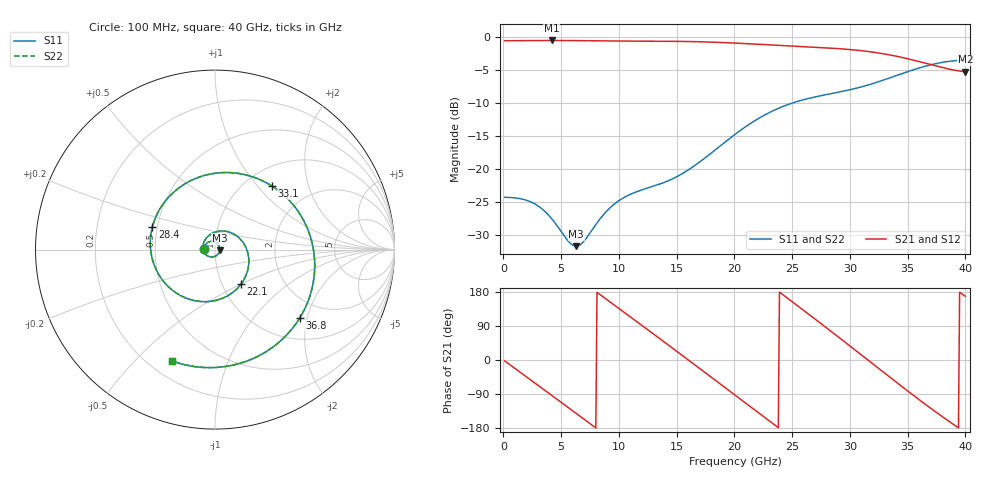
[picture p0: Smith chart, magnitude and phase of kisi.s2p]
! A_s4_d200_ap600: L1→L4 through L2/L3, drill Ø0.2, antipad Ø0.6, 4 GND vias at 1 mm
! stackup: 4-layer 1.6 mm FR-4
! ports: 1, 2
! kisi-fdtd, conformal, dfine 0.035 mm, 457125 cells
# Hz S RI R 50
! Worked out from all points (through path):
!   400 points, 100 MHz to 40 GHz, reference 50 ohm
!   highest |S21| = -0.58 dB at 4.2 GHz (marker M1); lowest = -5.3 dB at 40 GHz (marker M2)
!   group delay of S21, straight-line fit = 63.7 ps
!   lowest |S11| = -31.6 dB at 6.3 GHz (marker M3), VSWR 1.05, Z = 52.6 - j0.464 ohm
!   |S11| at or under -10 dB: start of sweep to 25.07 GHz
!   |S22| runs from -31.6 to -3.5 dB; largest |S21 - S12| = 1.4e-07
!   S11 on the Smith chart (normalised r, x): 100 MHz: 0.88, +0.00; 22.1 GHz: 1.22, -0.50; 28.4 GHz: 0.47, +0.14; 33.1 GHz: 1.31, +1.20; 36.8 GHz: 1.50, -1.80; 40 GHz: 0.29, -0.65
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1e8  -0.0612 0.00184  0.9296 -0.0361  0.9296 -0.0361  -0.0612 0.00184
2.4e9  -0.0394 0.0402  0.5555 -0.7499  0.5555 -0.7499  -0.0394 0.0402
4.2e9  0.00229 0.0419  -0.0629 -0.9328  -0.0629 -0.9328  0.00229 0.0419
6.3e9  0.0258 -0.0044  -0.7252 -0.5859  -0.7252 -0.5859  0.0258 -0.0044
6.8e9  0.0216 -0.0171  -0.8244 -0.4331  -0.8244 -0.4331  0.0216 -0.0171
8.7e9  -0.0194 -0.0413  -0.8959 0.2376  -0.8959 0.2376  -0.0194 -0.0413
1.07e10  -0.0607 -0.0156  -0.4668 0.7976  -0.4668 0.7976  -0.0607 -0.0156
1.34e10  -0.0585 0.0489  0.4687 0.7949  0.4687 0.7949  -0.0585 0.0489
1.5e10  -0.0285 0.0827  0.8469 0.3613  0.8469 0.3613  -0.0285 0.0827
1.65e10  0.0227 0.1028  0.8988 -0.1775  0.8988 -0.1775  0.0227 0.1028
1.84e10  0.1165 0.0793  0.5231 -0.7396  0.5231 -0.7396  0.1165 0.0793
2.01e10  0.183 -0.0192  -0.0582 -0.891  -0.0582 -0.891  0.183 -0.0192
2.21e10  0.1445 -0.1931  -0.666 -0.5672  -0.666 -0.5672  0.1445 -0.1931
2.43e10  -0.0747 -0.2897  -0.8418 0.1488  -0.8418 0.1488  -0.0747 -0.2897
2.67e10  -0.3253 -0.1172  -0.3472 0.7584  -0.3472 0.7584  -0.3253 -0.1172
2.84e10  -0.3487 0.127  0.213 0.7898  0.213 0.7898  -0.3487 0.127
3.08e10  -0.0925 0.4023  0.747 0.2441  0.747 0.2441  -0.0925 0.4023
3.31e10  0.3183 0.3535  0.5897 -0.4414  0.5897 -0.4414  0.3183 0.3535
3.34e10  0.3674 0.3178  0.5244 -0.5057  0.5244 -0.5057  0.3674 0.3178
3.5e10  0.5427 0.0294  0.0979 -0.6734  0.0979 -0.6734  0.5427 0.0294
3.68e10  0.4731 -0.3793  -0.3378 -0.5209  -0.3378 -0.5209  0.4731 -0.3793
4e10  -0.2375 -0.621  -0.5308 0.1096  -0.5308 0.1096  -0.2375 -0.621
